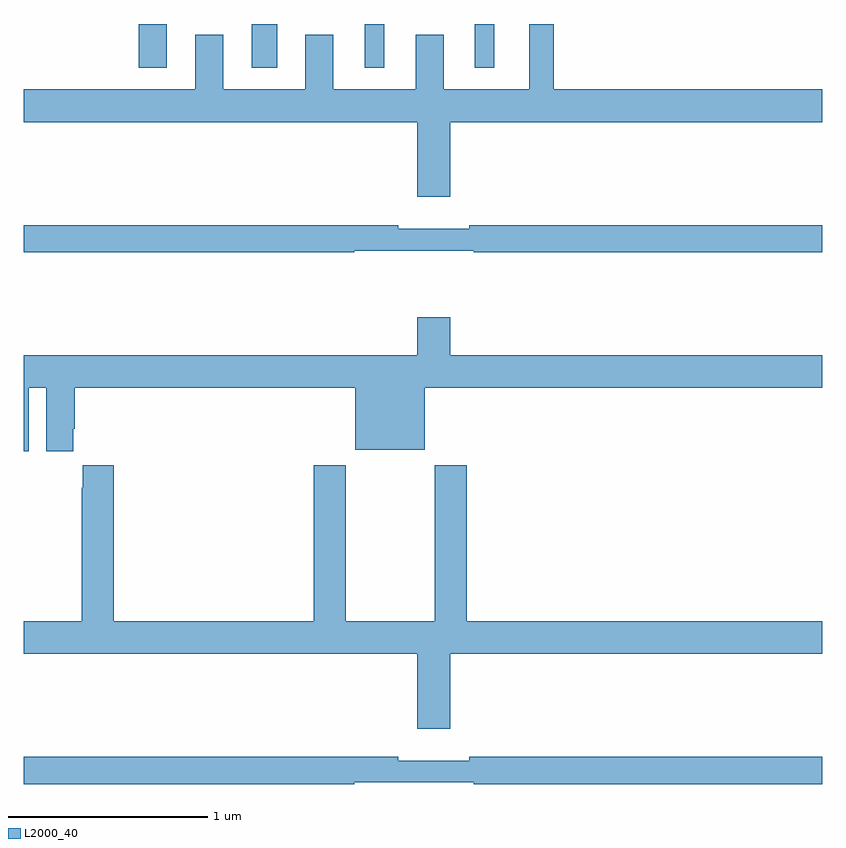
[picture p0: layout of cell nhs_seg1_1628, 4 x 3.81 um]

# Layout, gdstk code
import gdstk
lib = gdstk.Library(unit=1e-6, precision=1e-09)
def R(c, l, rs):  # rectangles x0, y0, x1, y1
    for r in rs: c.add(gdstk.rectangle(r[:2], r[2:], *l))
def P(c, l, *ps):  # polygons
    for p in ps: c.add(gdstk.Polygon(p, *l))
L2000_40 = (2000, 40)

nhs_seg1_1628 = lib.new_cell('nhs_seg1_1628')
R(nhs_seg1_1628, L2000_40, [(199.577,575.979,199.717,576.199), (200.141,575.979,200.269,576.199), (200.708,575.979,200.806,576.199), (201.26,575.979,201.358,576.199)])
P(nhs_seg1_1628, L2000_40, [(201.136,575.708),(203,575.708),(203,575.872),(201.655,575.872),(201.655,576.199),(201.533,576.199),(201.533,575.872),(201.103,575.872),(201.103,576.145),(200.963,576.145),(200.963,575.872),(200.551,575.872),(200.551,576.145),(200.411,576.145),(200.411,575.872),(199.999,575.872),(199.999,576.145),(199.859,576.145),(199.859,575.872),(199,575.872),(199,575.708),(200.972,575.708),(200.972,575.334),(201.136,575.334)],
  [(200.655,575.064),(201.255,575.064),(201.255,575.056),(203,575.056),(203,575.192),(201.232,575.192),(201.232,575.173),(200.876,575.173),(200.876,575.192),(199,575.192),(199,575.056),(200.655,575.056)],
  [(199.024,574.376),(199.112,574.376),(199.112,574.059),(199.249,574.059),(199.249,574.171),(199.256,574.171),(199.256,574.376),(200.66,574.376),(200.66,574.067),(201.01,574.067),(201.01,574.376),(203,574.376),(203,574.54),(201.136,574.54),(201.136,574.729),(200.972,574.729),(200.972,574.54),(199,574.54),(199,574.059),(199.024,574.059)],
  [(201.136,573.044),(203,573.044),(203,573.208),(201.218,573.208),(201.218,573.988),(201.058,573.988),(201.058,573.208),(200.613,573.208),(200.613,573.988),(200.453,573.988),(200.453,573.208),(199.451,573.208),(199.451,573.988),(199.295,573.988),(199.295,573.875),(199.291,573.875),(199.291,573.208),(199,573.208),(199,573.044),(200.972,573.044),(200.972,572.67),(201.136,572.67)],
  [(200.655,572.4),(201.255,572.4),(201.255,572.392),(203,572.392),(203,572.528),(201.232,572.528),(201.232,572.509),(200.876,572.509),(200.876,572.528),(199,572.528),(199,572.392),(200.655,572.392)])

lib.write_gds('nhs_seg1_1628.gds')
